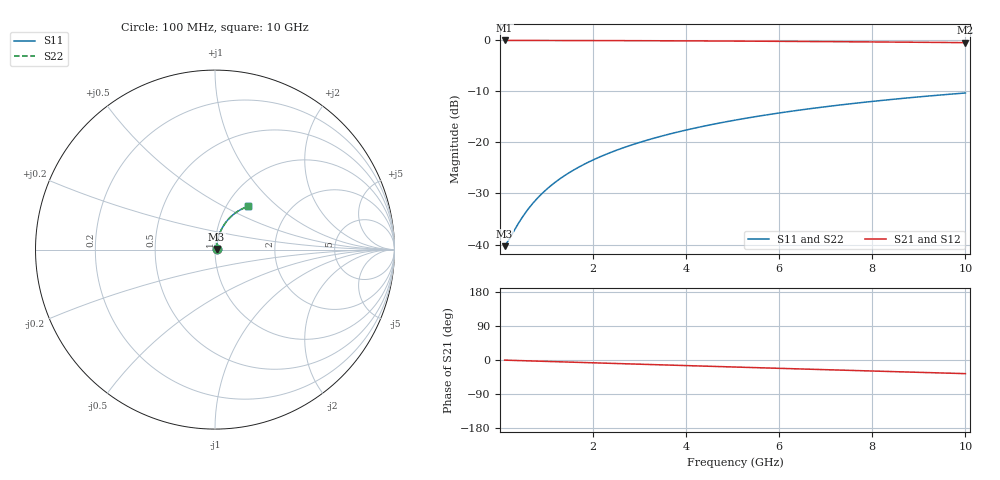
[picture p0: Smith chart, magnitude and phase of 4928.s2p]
# Hz S RI R 50.00
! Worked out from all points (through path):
!   100 points, 100 MHz to 10 GHz, reference 50 ohm
!   highest |S21| = -0.08 dB at 100 MHz (marker M1); lowest = -0.5 dB at 10 GHz (marker M2)
!   group delay of S21, straight-line fit = 10 ps
!   lowest |S11| = -40.3 dB at 100 MHz (marker M3), VSWR 1.02, Z = 50.9 + j0.335 ohm
!   |S11| at or under -10 dB: start of sweep to end of sweep
!   |S22| runs from -40.3 to -10.3 dB; largest |S21 - S12| = 0
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1e8  0.00908 0.00329  0.9909 -0.0064  0.9909 -0.0064  0.00908 0.00329
2e8  0.0092 0.00657  0.9908 -0.0128  0.9908 -0.0128  0.0092 0.00657
4e8  0.00954 0.0131  0.9904 -0.0256  0.9904 -0.0256  0.00954 0.0131
5e8  0.00976 0.0164  0.9901 -0.032  0.9901 -0.032  0.00976 0.0164
6e8  0.01 0.0197  0.9898 -0.0384  0.9898 -0.0384  0.01 0.0197
7e8  0.0103 0.0229  0.9894 -0.0448  0.9894 -0.0448  0.0103 0.0229
8e8  0.0107 0.0262  0.989 -0.0512  0.989 -0.0512  0.0107 0.0262
1e9  0.0115 0.0327  0.988 -0.0639  0.988 -0.0639  0.0115 0.0327
1.2e9  0.0124 0.0392  0.9868 -0.0767  0.9868 -0.0767  0.0124 0.0392
1.5e9  0.0142 0.0489  0.9847 -0.0957  0.9847 -0.0957  0.0142 0.0489
1.8e9  0.0163 0.0585  0.9821 -0.1147  0.9821 -0.1147  0.0163 0.0585
2.1e9  0.0188 0.068  0.979 -0.1335  0.979 -0.1335  0.0188 0.068
2.5e9  0.0226 0.0804  0.9742 -0.1585  0.9742 -0.1585  0.0226 0.0804
2.9e9  0.0271 0.0927  0.9686 -0.1832  0.9686 -0.1832  0.0271 0.0927
3.4e9  0.0336 0.1076  0.9606 -0.2138  0.9606 -0.2138  0.0336 0.1076
4.2e9  0.0459 0.1304  0.9453 -0.2616  0.9453 -0.2616  0.0459 0.1304
5.1e9  0.0622 0.1542  0.9248 -0.3137  0.9248 -0.3137  0.0622 0.1542
5.9e9  0.0788 0.1736  0.9038 -0.3582  0.9038 -0.3582  0.0788 0.1736
6.7e9  0.0971 0.191  0.8803 -0.4008  0.8803 -0.4008  0.0971 0.191
7.5e9  0.1169 0.2065  0.8548 -0.4414  0.8548 -0.4414  0.1169 0.2065
8.4e9  0.1406 0.2212  0.8237 -0.4845  0.8237 -0.4845  0.1406 0.2212
1e10  0.1855 0.2406  0.7635 -0.5543  0.7635 -0.5543  0.1855 0.2406
